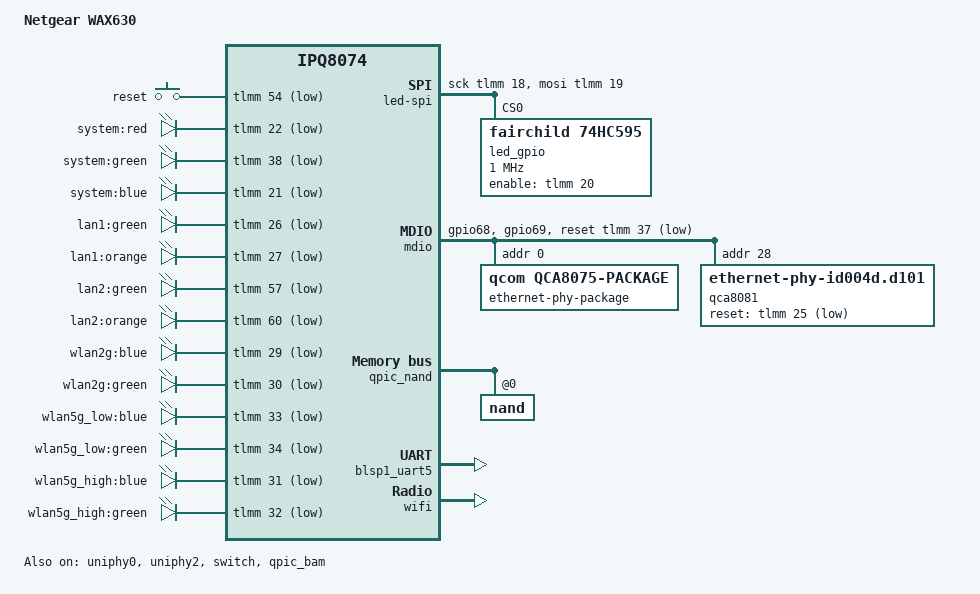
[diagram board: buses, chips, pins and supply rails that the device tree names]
// SPDX-License-Identifier: GPL-2.0-or-later OR MIT

/dts-v1/;

#include "ipq8074.dtsi"
#include "ipq8074-hk-cpu.dtsi"
#include "ipq8074-ess.dtsi"
#include <dt-bindings/input/input.h>
#include <dt-bindings/gpio/gpio.h>
#include <dt-bindings/leds/common.h>

/ {
	model = "Netgear WAX630";
	compatible = "netgear,wax630", "qcom,ipq8074";

	aliases {
		serial0 = &blsp1_uart5;

		ethernet0 = &swport6;
		ethernet1 = &swport4;
		label-mac-device = &swport6;

		led-boot = &led_system_blue;
		led-failsafe = &led_system_red;
		led-running = &led_system_green;
		led-upgrade = &led_system_blue;
	};

	chosen {
		stdout-path = "serial0:115200n8";
		bootargs-append = " root=/dev/ubiblock0_1";
	};

	keys {
		compatible = "gpio-keys";

		reset {
			label = "reset";
			gpios = <&tlmm 54 GPIO_ACTIVE_LOW>;
			linux,code = <KEY_RESTART>;
		};
	};

	led-spi {
		compatible = "spi-gpio";
		#address-cells = <1>;
		#size-cells = <0>;

		sck-gpios = <&tlmm 18 GPIO_ACTIVE_HIGH>;
		mosi-gpios = <&tlmm 19 GPIO_ACTIVE_HIGH>;

		led_gpio: led-gpio@0 {
			compatible = "fairchild,74hc595";
			reg = <0>;
			gpio-controller;
			#gpio-cells = <2>;
			registers-number = <1>;
			enable-gpios = <&tlmm 20 GPIO_ACTIVE_HIGH>;
			spi-max-frequency = <1000000>;
		};
	};

	leds {
		compatible = "gpio-leds";

		led_system_red: system-red {
			label = "system:red";
			gpios = <&tlmm 22 GPIO_ACTIVE_LOW>;
			default-state = "off";
		};

		led_system_green: system-green {
			label = "system:green";
			gpios = <&tlmm 38 GPIO_ACTIVE_LOW>;
			default-state = "off";
		};

		led_system_blue: system-blue {
			label = "system:blue";
			gpios = <&tlmm 21 GPIO_ACTIVE_LOW>;
			default-state = "off";
		};

		lan1-green {
			label = "lan1:green";
			gpios = <&tlmm 26 GPIO_ACTIVE_LOW>;
			default-state = "off";
		};

		lan1-orange {
			label = "lan1:orange";
			gpios = <&tlmm 27 GPIO_ACTIVE_LOW>;
			default-state = "off";
		};

		lan2-green {
			label = "lan2:green";
			gpios = <&tlmm 57 GPIO_ACTIVE_LOW>;
			default-state = "off";
		};

		lan2-orange {
			label = "lan2:orange";
			gpios = <&tlmm 60 GPIO_ACTIVE_LOW>;
			default-state = "off";
		};

		2g-blue {
			label = "wlan2g:blue";
			gpios = <&tlmm 29 GPIO_ACTIVE_LOW>;
			default-state = "off";
		};

		2g-green {
			label = "wlan2g:green";
			gpios = <&tlmm 30 GPIO_ACTIVE_LOW>;
			default-state = "off";
		};

		5g-low-blue {
			label = "wlan5g_low:blue";
			gpios = <&tlmm 33 GPIO_ACTIVE_LOW>;
			default-state = "off";
		};

		5g-low-green {
			label = "wlan5g_low:green";
			gpios = <&tlmm 34 GPIO_ACTIVE_LOW>;
			default-state = "off";
		};

		5g-high-blue {
			label = "wlan5g_high:blue";
			gpios = <&tlmm 31 GPIO_ACTIVE_LOW>;
			default-state = "off";
		};

		5g-high-green {
			label = "wlan5g_high:green";
			gpios = <&tlmm 32 GPIO_ACTIVE_LOW>;
			default-state = "off";
		};

	};
};

&edma {
	status = "okay";
};

&uniphy0 {
	status = "okay";
};

&uniphy2 {
	status = "okay";
};

&switch {
	status = "okay";

	ports {
		#address-cells = <1>;
		#size-cells = <0>;

		port@0 {
			reg = <0>;
			ethernet = <&edma>;
			phy-mode = "internal";

			fixed-link {
				speed = <1000>;
				full-duplex;
			};
		};

		swport4: port@4 {
			reg = <4>;
			label = "lan2";
			phy-handle = <&qca8075_3>;
			phy-mode = "psgmii";
			pcs-handle = <&uniphy0 3>;
		};

		swport6: port@6 {
			reg = <6>;
			label = "lan1";
			phy-handle = <&qca8081>;
			phy-mode = "2500base-x";
			pcs-handle = <&uniphy2 0>;
		};
	};
};

&tlmm {
	mdio_pins: mdio-pins {
		mdc {
			pins = "gpio68";
			function = "mdc";
			drive-strength = <8>;
			bias-pull-up;
		};

		mdio {
			pins = "gpio69";
			function = "mdio";
			drive-strength = <8>;
			bias-pull-up;
		};
	};
};

&mdio {
	status = "okay";

	pinctrl-0 = <&mdio_pins>;
	pinctrl-names = "default";
	reset-gpios = <&tlmm 37 GPIO_ACTIVE_LOW>;

	ethernet-phy-package@0 {
		#address-cells = <1>;
		#size-cells = <0>;
		compatible = "qcom,qca8075-package";
		reg = <0>;

		qca8075_3: ethernet-phy@3 {
			compatible = "ethernet-phy-ieee802.3-c22";
			reg = <3>;
		};
	};

	qca8081: ethernet-phy@28 {
		compatible = "ethernet-phy-id004d.d101";
		reg = <28>;
		reset-deassert-us = <10000>;
		reset-gpios = <&tlmm 25 GPIO_ACTIVE_LOW>;
	};
};

&qpic_bam {
	status = "okay";
};

&qpic_nand {
	status = "okay";

	nand@0 {
		reg = <0>;
		nand-ecc-strength = <4>;
		nand-ecc-step-size = <512>;
		nand-bus-width = <8>;

		partitions {
			compatible = "qcom,smem-part";
		};
	};
};

&blsp1_uart5 {
	status = "okay";
};

&wifi {
	status = "okay";

	qcom,ath11k-calibration-variant = "Netgear-WAX630";
};
